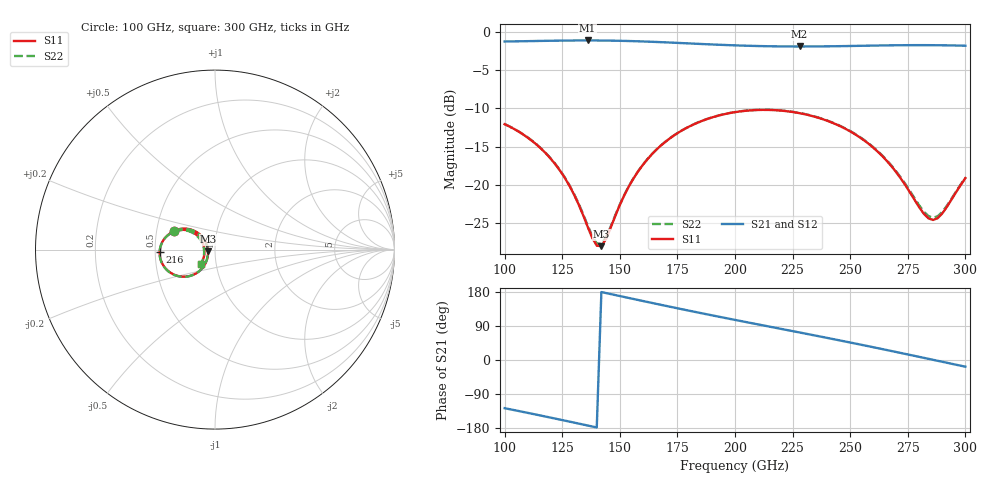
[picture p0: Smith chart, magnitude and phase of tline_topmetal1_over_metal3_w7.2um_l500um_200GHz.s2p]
#  GHZ S DB R 50
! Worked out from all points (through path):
!   101 points, 100 GHz to 300 GHz, reference 50 ohm
!   highest |S21| = -1.13 dB at 136 GHz (marker M1); lowest = -1.9 dB at 228 GHz (marker M2)
!   group delay of S21, straight-line fit = 3.45 ps
!   lowest |S11| = -28.0 dB at 142 GHz (marker M3), VSWR 1.08, Z = 46.3 - j0.845 ohm
!   |S11| at or under -10 dB: start of sweep to end of sweep
!   |S22| runs from -27.7 to -10.2 dB; largest |S21 - S12| = 1e-13
!   S11 on the Smith chart (normalised r, x): 100 GHz: 0.62, +0.14; 216 GHz: 0.53, -0.02; 300 GHz: 0.85, -0.13
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100  -12.06 154.9  -1.27 -127.1  -1.27 -127.1  -12.05 155.4
110  -13.81 145.0  -1.22 -139.5  -1.22 -139.5  -13.79 145.6
120  -16.57 137.1  -1.17 -152.1  -1.17 -152.1  -16.53 137.8
128  -20.03 135.0  -1.14 -162.4  -1.14 -162.4  -19.96 136.0
134  -23.89 142.3  -1.13 -170.2  -1.13 -170.2  -23.75 143.4
136  -25.42 149.1  -1.13 -172.8  -1.13 -172.8  -25.23 150.2
140  -27.92 175.3  -1.14 -178.1  -1.14 -178.1  -27.63 175.7
142  -28.00 -166.8  -1.14 179.3  -1.14 179.3  -27.71 -167.0
144  -27.07 -150.8  -1.15 176.7  -1.15 176.7  -26.85 -151.5
156  -19.13 -124.0  -1.23 160.9  -1.23 160.9  -19.09 -124.3
168  -14.82 -130.3  -1.36 145.4  -1.36 145.4  -14.80 -130.2
184  -11.84 -145.2  -1.58 125.3  -1.58 125.3  -11.83 -145.0
200  -10.50 -161.4  -1.77 105.8  -1.77 105.8  -10.48 -161.1
216  -10.22 -177.6  -1.90 86.8  -1.90 86.8  -10.20 -177.1
228  -10.63 170.6  -1.92 72.7  -1.92 72.7  -10.60 171.2
234  -11.04 164.8  -1.92 65.5  -1.92 65.5  -11.01 165.5
252  -13.36 149.1  -1.85 43.7  -1.85 43.7  -13.32 149.9
268  -17.59 141.5  -1.77 23.6  -1.77 23.6  -17.49 142.6
282  -23.77 164.3  -1.75 5.6  -1.75 5.6  -23.50 165.0
286  -24.57 -175.6  -1.75 0.4  -1.75 0.4  -24.29 -175.7
290  -23.71 -155.8  -1.76 -4.7  -1.76 -4.7  -23.51 -156.4
300  -19.10 -134.8  -1.82 -17.7  -1.82 -17.7  -19.06 -135.1
